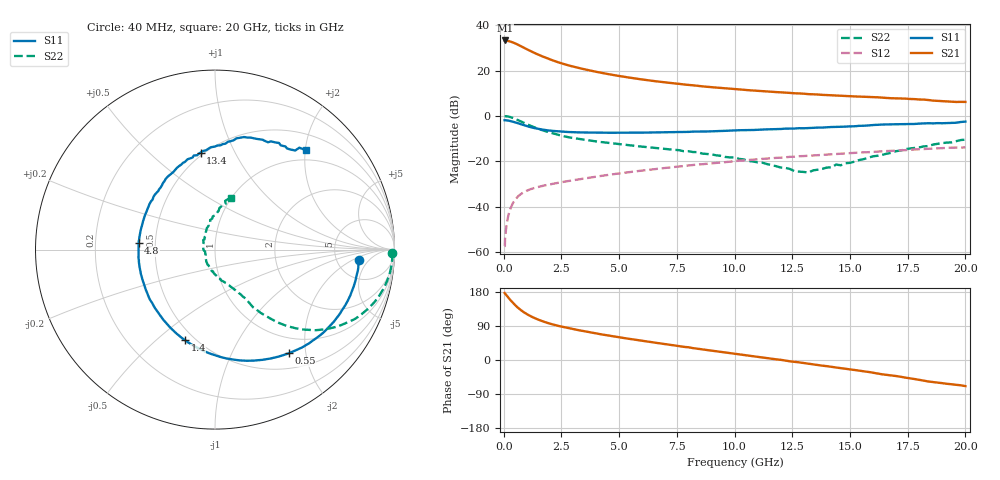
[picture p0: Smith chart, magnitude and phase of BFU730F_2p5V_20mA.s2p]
! Filename:  P:\Prog\Test\Noise\ATS_data\Testdata_Net\Split files Spar\BFU730_2W_B1_Bias8_2.5V_1mA_25mA_D.s2p
! Date/Time: Fri 29/Apr/2011 15:08:47
! BFU730_2W_B1_Bias8_2.5V_1mA_25mA_R.s2p
! MDIF S-parameter v. bias file
! BFU730_2W_B1_2.5V_1mA_25mA
! Date/time Thu Mar 17 13:38:09 2011
! VAR V_out= 2.5000
! VAR I_out= 19.9800
! VAR V_in= 0.8081
! VAR I_in= 0.0709
! Device data file deembeded for feedlines and parallel
! Original file: \Split files Spar\BFU730_2W_B1_Bias8_2.5V_1mA_25mA_R.s2p
! Feed-files: PR003V01_101208_Feed1.s2p, PR003V01_101208_Feed2.s2p
! Parallel-file: PR003V01_101208_Par.s2p
# MHz S MA R 50
!  Freq-MHz  S11-mag  S11-arg  S21-mag  S21-arg  S12-mag  S12-arg  S22-mag  S22-arg
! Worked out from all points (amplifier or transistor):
!   167 points, 40 MHz to 20 GHz, reference 50 ohm
!   highest |S21| = 33.4 dB at 50 MHz (marker M1)
!   |S21| within 3 dB of that: start of sweep to 835 MHz
!   unconditionally stable (mu >= 1): 4.383 GHz to 15.39 GHz
!   at 550 MHz: K = 0.22, MSG = 34.1 dB, |S12| = -36.3 dB
!   at 4.2 GHz: K = 0.99, MSG = 22.8 dB, |S12| = -26.5 dB
!   at 20 GHz: K = 0.85, MSG = 10.0 dB, |S12| = -13.9 dB
!   S11 on the Smith chart (normalised r, x): 40 MHz: 8.38, -2.76; 550 MHz: 0.73, -1.70; 1.4 GHz: 0.44, -0.62; 4.8 GHz: 0.40, +0.04; 13.4 GHz: 0.48, +0.74; 20 GHz: 0.79, +2.01
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40  0.8058 -4.1  46.56 176.8  0.001331 77.2  0.9859 -1.1
50  0.8076 -5.5  46.65 175.6  0.001334 88.0  0.9862 -2.0
70  0.8048 -7.2  46.32 174.6  0.002216 81.7  0.9887 -3.3
140  0.7996 -14.7  45.98 169.3  0.004426 81.2  0.9824 -7.8
240  0.7847 -25.2  44.91 161.8  0.00748 77.3  0.9608 -13.7
300  0.7744 -31.3  43.86 157.5  0.009225 74.7  0.9432 -17.0
420  0.7439 -43.0  41.78 149.5  0.01238 69.8  0.8987 -23.1
550  0.7091 -54.6  39.05 141.7  0.01527 64.9  0.8414 -28.8
750  0.6559 -70.5  34.74 131.5  0.01893 59.0  0.756 -35.9
950  0.6091 -84.2  30.81 123.1  0.02174 54.8  0.6781 -41.2
1150  0.5696 -95.9  27.41 116.2  0.024 51.8  0.612 -45.1
1400  0.5315 -108.5  23.88 109.0  0.02634 49.3  0.5437 -48.8
1750  0.4939 -122.5  20.04 100.9  0.02911 47.4  0.4718 -52.2
2150  0.4674 -135.4  16.75 93.4  0.03193 46.5  0.4103 -55.2
2700  0.4459 -149.7  13.62 85.5  0.0359 45.8  0.3485 -57.3
3400  0.4329 -163.5  11.05 76.9  0.04098 45.4  0.3046 -59.3
4800  0.4271 175.0  7.964 61.9  0.05225 43.6  0.2453 -64.4
6800  0.4355 152.5  5.682 43.7  0.06936 38.5  0.1916 -73.3
10200  0.4847 122.9  3.872 14.9  0.1026 25.4  0.1127 -102.2
13400  0.5466 98.4  3.017 -11.5  0.135 8.7  0.06285 -176.0
16800  0.655 72.2  2.468 -40.7  0.1696 -10.7  0.1537 99.8
20000  0.7509 47.6  2.046 -69.0  0.2025 -32.1  0.3005 73.3
